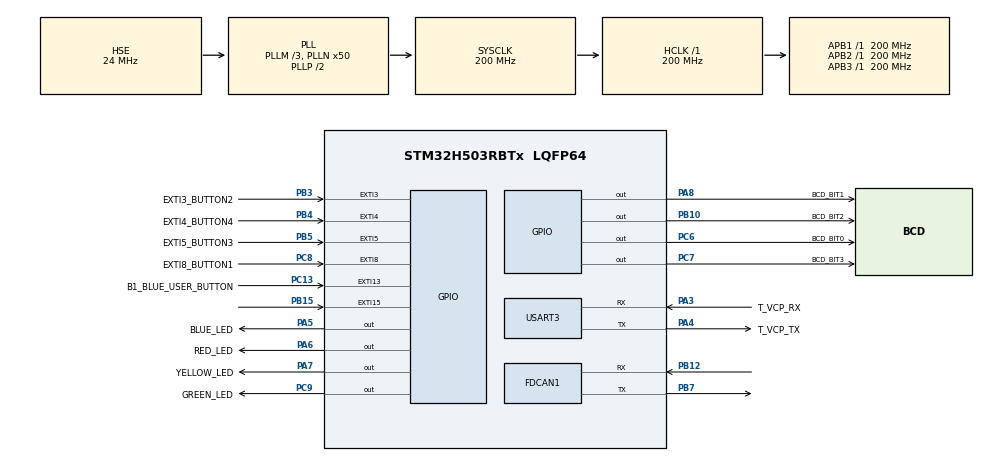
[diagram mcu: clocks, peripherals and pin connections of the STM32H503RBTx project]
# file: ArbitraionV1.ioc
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BOOTPATH.BootPathName=LEGACY
BOOTPATH.UserSelectedBootPath=LEGACY
FDCAN1.CalculateBaudRateNominal=100000
FDCAN1.CalculateTimeBitNominal=10000
FDCAN1.CalculateTimeQuantumNominal=625.0
FDCAN1.Mode=FDCAN_MODE_NORMAL
FDCAN1.NominalPrescaler=125
FDCAN1.NominalTimeSeg1=13
FDCAN1.NominalTimeSeg2=2
Mcu.Family=STM32H5
Mcu.Name=STM32H503RBTx
Mcu.Package=LQFP64
NVIC.EXTI13_IRQn=true\:0\:0\:false\:false\:true\:true\:true\:true
NVIC.EXTI15_IRQn=true\:0\:0\:false\:false\:true\:true\:true\:true
NVIC.EXTI3_IRQn=true\:0\:0\:false\:false\:true\:true\:true\:true
NVIC.EXTI4_IRQn=true\:0\:0\:false\:false\:true\:true\:true\:true
NVIC.EXTI5_IRQn=true\:0\:0\:false\:false\:true\:true\:true\:true
NVIC.EXTI8_IRQn=true\:0\:0\:false\:false\:true\:true\:true\:true
NVIC.FDCAN1_IT0_IRQn=true\:0\:0\:false\:false\:true\:true\:true\:true
NVIC.PriorityGroup=NVIC_PRIORITYGROUP_4
NVIC.USART3_IRQn=true\:0\:0\:false\:false\:true\:true\:true\:true
PA3.GPIO_Label=T_VCP_RX
PA3.Mode=Asynchronous
PA3.Signal=USART3_RX
PA4.GPIO_Label=T_VCP_TX
PA4.Mode=Asynchronous
PA4.Signal=USART3_TX
PA5.GPIO_Label=BLUE_LED
PA5.Signal=GPIO_Output
PA6.GPIO_Label=RED_LED
PA6.Signal=GPIO_Output
PA7.GPIO_Label=YELLOW_LED
PA7.Signal=GPIO_Output
PA8.GPIO_Label=BCD_BIT1
PA8.Signal=GPIO_Output
PB10.GPIO_Label=BCD_BIT2
PB10.Signal=GPIO_Output
PB12.Mode=FDCAN_Activate
PB12.Signal=FDCAN1_RX
PB15.GPIO_ModeDefaultEXTI=GPIO_MODE_IT_FALLING
PB15.GPIO_PuPd=GPIO_PULLUP
PB15.Signal=GPXTI15
PB3(JTDO/TRACESWO).GPIO_Label=EXTI3_BUTTON2
PB3(JTDO/TRACESWO).GPIO_ModeDefaultEXTI=GPIO_MODE_IT_FALLING
PB3(JTDO/TRACESWO).GPIO_PuPd=GPIO_PULLUP
PB3(JTDO/TRACESWO).Signal=GPXTI3
PB4(NJTRST).GPIO_Label=EXTI4_BUTTON4
PB4(NJTRST).GPIO_ModeDefaultEXTI=GPIO_MODE_IT_FALLING
PB4(NJTRST).GPIO_PuPd=GPIO_PULLUP
PB4(NJTRST).Signal=GPXTI4
PB5.GPIO_Label=EXTI5_BUTTON3
PB5.GPIO_ModeDefaultEXTI=GPIO_MODE_IT_FALLING
PB5.GPIO_PuPd=GPIO_NOPULL
PB5.Signal=GPXTI5
PB7.Mode=FDCAN_Activate
PB7.Signal=FDCAN1_TX
PC13.GPIO_Label=B1_BLUE_USER_BUTTON
PC13.GPIO_ModeDefaultEXTI=GPIO_MODE_IT_FALLING
PC13.Signal=GPXTI13
PC6.GPIO_Label=BCD_BIT0
PC6.Signal=GPIO_Output
PC7.GPIO_Label=BCD_BIT3
PC7.Signal=GPIO_Output
PC8.GPIO_Label=EXTI8_BUTTON1
PC8.GPIO_ModeDefaultEXTI=GPIO_MODE_IT_FALLING
PC8.Signal=GPXTI8
PC9.GPIO_Label=GREEN_LED
PC9.Signal=GPIO_Output
PH0-OSC_IN(PH0).Mode=HSE-External-Oscillator
PH0-OSC_IN(PH0).Signal=RCC_OSC_IN
PH1-OSC_OUT(PH1).Mode=HSE-External-Oscillator
PH1-OSC_OUT(PH1).Signal=RCC_OSC_OUT
ProjectManager.HeapSize=0x200
ProjectManager.StackSize=0x400
ProjectManager.TargetToolchain=STM32CubeIDE
RCC.ADCFreq_Value=200000000
RCC.AHBFreq_Value=200000000
RCC.APB1Freq_Value=200000000
RCC.APB1TimFreq_Value=200000000
RCC.APB2Freq_Value=200000000
RCC.APB2TimFreq_Value=200000000
RCC.APB3Freq_Value=200000000
RCC.CSI_VALUE=4000000
RCC.CortexFreq_Value=200000000
RCC.EPOD_VALUE=24000000
RCC.FDCANClockSelection=RCC_FDCANCLKSOURCE_PLL1Q
RCC.HCLKFreq_Value=200000000
RCC.HSE_VALUE=24000000
RCC.HSI48_VALUE=48000000
RCC.HSIDiv=RCC_HSI_DIV1
RCC.HSI_VALUE=64000000
RCC.LSE_VALUE=32768
RCC.LSIRC_VALUE=32000
RCC.PLLFRACN=0
RCC.PLLM=3
RCC.PLLN=50
RCC.PLLSourceVirtual=RCC_PLL1_SOURCE_HSE
RCC.SYSCLKFreq_VALUE=200000000
RCC.SYSCLKSource=RCC_SYSCLKSOURCE_PLLCLK
RCC.USBFreq_Value=48000000
RCC.VCOOutputFreq_Value=400000000
USART3.VirtualMode-Asynchronous=VM_ASYNC
VP_BOOTPATH_VS_BOOTPATH.Mode=BP_Activate
VP_CORTEX_M33_NS_VS_Hclk.Mode=Hclk_Mode
VP_MEMORYMAP_VS_MEMORYMAP.Mode=CurAppReg
VP_PWR_VS_DBSignals.Mode=DisableDeadBatterySignals
VP_PWR_VS_LPOM.Mode=PowerOptimisation
VP_PWR_VS_SECSignals.Mode=Security/Privilege
board=NUCLEO-H503RB

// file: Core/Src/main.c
/* USER CODE BEGIN Header */
/**
  ******************************************************************************
  * @file           : main.c
  * @brief          : Main program body
  ******************************************************************************
  * @attention
  *
  * Copyright (c) 2025 STMicroelectronics.
  * All rights reserved.
  *
  * This software is licensed under terms that can be found in the LICENSE file
  * in the root directory of this software component.
  * If no LICENSE file comes with this software, it is provided AS-IS.
  *
  ******************************************************************************
  */
/* USER CODE END Header */
#include "main.h"

/* USER CODE BEGIN PTD */
typedef struct{
	FDCAN_TxHeaderTypeDef   TxHeader;
	FDCAN_RxHeaderTypeDef   RxHeader;
	uint32_t msgID;
	uint8_t dataTx[8];
	uint8_t dataRx[8];
} CAN_SET;

CAN_SET CAN_Payload;
/* USER CODE END PTD */

/* USER CODE BEGIN PD */
#define NODE_B
/* USER CODE END PD */

FDCAN_HandleTypeDef hfdcan1;

UART_HandleTypeDef huart3;

void SystemClock_Config(void);
static void MX_GPIO_Init(void);
static void MX_FDCAN1_Init(void);
static void MX_USART3_UART_Init(void);
/* USER CODE BEGIN PFP */
void BCD_Display(uint8_t bcd_value);
void TX_Send_CAN();
void Pri_ID();
void Std_Ext();
void Pass_Arb();
void Close_led();
void Turn_LED(uint16_t LED);
void Change_ID();
void Check_flag();
void Data_Remote();
/* USER CODE END PFP */

/* USER CODE BEGIN 0 */
typedef enum {
    ID_VS_ID = 1U,
    STD_VS_EXD,
    ID_Pass_ARB,
	DATE_REMOTE,
    CHANGE_ADD,
    START_SEND_CAN
} State;

volatile State mode 	= ID_VS_ID;
State prev_mode 		= ID_VS_ID;

volatile uint8_t flag 	= 1U;
uint8_t ID_Position 	= 0U;
volatile uint8_t sw_mode = 0U;

#ifdef NODE_A
	const uint16_t pri_id_address[3]  = {0x7E0U,0x7A0U,0x119U};
	const uint16_t std_ext_address[3] = {0x7E0U,0x2A5U,0x001U};
#endif

#ifdef NODE_B
	const uint16_t pri_id_address[3]  = {0x7E1U,0x1A2U,0x149U};
	const uint32_t std_ext_address[3] = {0x1F800000U,0x10A5462U,0x00040000U};
#endif

#define MAX_ID_POSITION	(sizeof(pri_id_address) / sizeof(pri_id_address[0]))
#define RESET_ID_POSITION (0U)

/* USER CODE END 0 */

int main(void)
{

  /* MCU Configuration--------------------------------------------------------*/

  /* Reset of all peripherals, Initializes the Flash interface and the Systick. */
  HAL_Init();

  /* Configure the system clock */
  SystemClock_Config();

  /* Initialize all configured peripherals */
  MX_GPIO_Init();
  MX_FDCAN1_Init();
  MX_USART3_UART_Init();
  /* USER CODE BEGIN 2 */
  BCD_Display(ID_Position+1);
  Close_led();

  for (uint8_t i = 0; i < 8 ;i++){
	  CAN_Payload.dataTx[i] = i;
  }
  /* USER CODE END 2 */

  /* Infinite loop */
  while (1)
  {

    /* USER CODE BEGIN 3 */
	while(flag == 1){
		switch (mode)
    		{
    		case ID_VS_ID:
    			Turn_LED(BLUE_LED_Pin);
    			Pri_ID();
    			break;
    		case STD_VS_EXD:
    			Turn_LED(RED_LED_Pin);
    			Std_Ext();
    			break;
    		case ID_Pass_ARB:
    			Turn_LED(YELLOW_LED_Pin);
    			Pass_Arb();
    			break;
    		case DATE_REMOTE:
    			Turn_LED(GREEN_LED_Pin);
    			Data_Remote();
    			break;
    		case CHANGE_ADD:
    			Change_ID();
    			break;
    		default:
    			break;
    		}
		Check_flag();
	}
  }
  /* USER CODE END 3 */
}

void SystemClock_Config(void)
{
  RCC_OscInitTypeDef RCC_OscInitStruct = {0};
  RCC_ClkInitTypeDef RCC_ClkInitStruct = {0};

  /** Configure the main internal regulator output voltage
  */
  __HAL_PWR_VOLTAGESCALING_CONFIG(PWR_REGULATOR_VOLTAGE_SCALE1);

  while(!__HAL_PWR_GET_FLAG(PWR_FLAG_VOSRDY)) {}

  /** Initializes the RCC Oscillators according to the specified parameters
  * in the RCC_OscInitTypeDef structure.
  */
  RCC_OscInitStruct.OscillatorType = RCC_OSCILLATORTYPE_HSE;
  RCC_OscInitStruct.HSEState = RCC_HSE_ON;
  RCC_OscInitStruct.PLL.PLLState = RCC_PLL_ON;
  RCC_OscInitStruct.PLL.PLLSource = RCC_PLL1_SOURCE_HSE;
  RCC_OscInitStruct.PLL.PLLM = 3;
  RCC_OscInitStruct.PLL.PLLN = 50;
  RCC_OscInitStruct.PLL.PLLP = 2;
  RCC_OscInitStruct.PLL.PLLQ = 2;
  RCC_OscInitStruct.PLL.PLLR = 2;
  RCC_OscInitStruct.PLL.PLLRGE = RCC_PLL1_VCIRANGE_3;
  RCC_OscInitStruct.PLL.PLLVCOSEL = RCC_PLL1_VCORANGE_WIDE;
  RCC_OscInitStruct.PLL.PLLFRACN = 0;
  if (HAL_RCC_OscConfig(&RCC_OscInitStruct) != HAL_OK)
  {
    Error_Handler();
  }

  /** Initializes the CPU, AHB and APB buses clocks
  */
  RCC_ClkInitStruct.ClockType = RCC_CLOCKTYPE_HCLK|RCC_CLOCKTYPE_SYSCLK
                              |RCC_CLOCKTYPE_PCLK1|RCC_CLOCKTYPE_PCLK2
                              |RCC_CLOCKTYPE_PCLK3;
  RCC_ClkInitStruct.SYSCLKSource = RCC_SYSCLKSOURCE_PLLCLK;
  RCC_ClkInitStruct.AHBCLKDivider = RCC_SYSCLK_DIV1;
  RCC_ClkInitStruct.APB1CLKDivider = RCC_HCLK_DIV1;
  RCC_ClkInitStruct.APB2CLKDivider = RCC_HCLK_DIV1;
  RCC_ClkInitStruct.APB3CLKDivider = RCC_HCLK_DIV1;

  if (HAL_RCC_ClockConfig(&RCC_ClkInitStruct, FLASH_LATENCY_5) != HAL_OK)
  {
    Error_Handler();
  }

  /** Configure the programming delay
  */
  __HAL_FLASH_SET_PROGRAM_DELAY(FLASH_PROGRAMMING_DELAY_2);
}

static void MX_FDCAN1_Init(void)
{

  hfdcan1.Instance = FDCAN1;
  hfdcan1.Init.ClockDivider = FDCAN_CLOCK_DIV1;
  hfdcan1.Init.FrameFormat = FDCAN_FRAME_CLASSIC;
  hfdcan1.Init.Mode = FDCAN_MODE_NORMAL;
  hfdcan1.Init.AutoRetransmission = DISABLE;
  hfdcan1.Init.TransmitPause = DISABLE;
  hfdcan1.Init.ProtocolException = DISABLE;
  hfdcan1.Init.NominalPrescaler = 25;
  hfdcan1.Init.NominalSyncJumpWidth = 1;
  hfdcan1.Init.NominalTimeSeg1 = 13;
  hfdcan1.Init.NominalTimeSeg2 = 2;
  hfdcan1.Init.DataPrescaler = 1;
  hfdcan1.Init.DataSyncJumpWidth = 1;
  hfdcan1.Init.DataTimeSeg1 = 1;
  hfdcan1.Init.DataTimeSeg2 = 1;
  hfdcan1.Init.StdFiltersNbr = 0;
  hfdcan1.Init.ExtFiltersNbr = 0;
  hfdcan1.Init.TxFifoQueueMode = FDCAN_TX_FIFO_OPERATION;
  if (HAL_FDCAN_Init(&hfdcan1) != HAL_OK)
  {
    Error_Handler();
  }
  /* USER CODE BEGIN FDCAN1_Init 2 */
  if (HAL_FDCAN_Start(&hfdcan1) != HAL_OK) {
    	 /* Notification Error */
    	Error_Handler();
   }
   if (HAL_FDCAN_ActivateNotification(&hfdcan1, FDCAN_IT_RX_FIFO0_NEW_MESSAGE, 0) != HAL_OK)
   {
 	  /* Notification Error */
  	Error_Handler();
   }

  /* USER CODE END FDCAN1_Init 2 */

}

static void MX_USART3_UART_Init(void)
{

  huart3.Instance = USART3;
  huart3.Init.BaudRate = 115200;
  huart3.Init.WordLength = UART_WORDLENGTH_8B;
  huart3.Init.StopBits = UART_STOPBITS_1;
  huart3.Init.Parity = UART_PARITY_NONE;
  huart3.Init.Mode = UART_MODE_TX_RX;
  huart3.Init.HwFlowCtl = UART_HWCONTROL_NONE;
  huart3.Init.OverSampling = UART_OVERSAMPLING_16;
  huart3.Init.OneBitSampling = UART_ONE_BIT_SAMPLE_DISABLE;
  huart3.Init.ClockPrescaler = UART_PRESCALER_DIV1;
  huart3.AdvancedInit.AdvFeatureInit = UART_ADVFEATURE_NO_INIT;
  if (HAL_UART_Init(&huart3) != HAL_OK)
  {
    Error_Handler();
  }
  if (HAL_UARTEx_SetTxFifoThreshold(&huart3, UART_TXFIFO_THRESHOLD_1_8) != HAL_OK)
  {
    Error_Handler();
  }
  if (HAL_UARTEx_SetRxFifoThreshold(&huart3, UART_RXFIFO_THRESHOLD_1_8) != HAL_OK)
  {
    Error_Handler();
  }
  if (HAL_UARTEx_DisableFifoMode(&huart3) != HAL_OK)
  {
    Error_Handler();
  }

}

static void MX_GPIO_Init(void)
{
  GPIO_InitTypeDef GPIO_InitStruct = {0};

  /* GPIO Ports Clock Enable */
  __HAL_RCC_GPIOC_CLK_ENABLE();
  __HAL_RCC_GPIOH_CLK_ENABLE();
  __HAL_RCC_GPIOA_CLK_ENABLE();
  __HAL_RCC_GPIOB_CLK_ENABLE();

  /*Configure GPIO pin Output Level */
  HAL_GPIO_WritePin(GPIOA, BLUE_LED_Pin|RED_LED_Pin|YELLOW_LED_Pin|BCD_BIT1_Pin, GPIO_PIN_RESET);

  /*Configure GPIO pin Output Level */
  HAL_GPIO_WritePin(BCD_BIT2_GPIO_Port, BCD_BIT2_Pin, GPIO_PIN_RESET);

  /*Configure GPIO pin Output Level */
  HAL_GPIO_WritePin(GPIOC, BCD_BIT0_Pin|BCD_BIT3_Pin|GREEN_LED_Pin, GPIO_PIN_RESET);

  /*Configure GPIO pins : B1_BLUE_USER_BUTTON_Pin EXTI8_BUTTON1_Pin */
  GPIO_InitStruct.Pin = B1_BLUE_USER_BUTTON_Pin|EXTI8_BUTTON1_Pin;
  GPIO_InitStruct.Mode = GPIO_MODE_IT_FALLING;
  GPIO_InitStruct.Pull = GPIO_NOPULL;
  HAL_GPIO_Init(GPIOC, &GPIO_InitStruct);

  /*Configure GPIO pins : BLUE_LED_Pin RED_LED_Pin YELLOW_LED_Pin BCD_BIT1_Pin */
  GPIO_InitStruct.Pin = BLUE_LED_Pin|RED_LED_Pin|YELLOW_LED_Pin|BCD_BIT1_Pin;
  GPIO_InitStruct.Mode = GPIO_MODE_OUTPUT_PP;
  GPIO_InitStruct.Pull = GPIO_NOPULL;
  GPIO_InitStruct.Speed = GPIO_SPEED_FREQ_LOW;
  HAL_GPIO_Init(GPIOA, &GPIO_InitStruct);

  /*Configure GPIO pin : BCD_BIT2_Pin */
  GPIO_InitStruct.Pin = BCD_BIT2_Pin;
  GPIO_InitStruct.Mode = GPIO_MODE_OUTPUT_PP;
  GPIO_InitStruct.Pull = GPIO_NOPULL;
  GPIO_InitStruct.Speed = GPIO_SPEED_FREQ_LOW;
  HAL_GPIO_Init(BCD_BIT2_GPIO_Port, &GPIO_InitStruct);

  /*Configure GPIO pins : PB15 EXTI3_BUTTON2_Pin EXTI4_BUTTON4_Pin */
  GPIO_InitStruct.Pin = GPIO_PIN_15|EXTI3_BUTTON2_Pin|EXTI4_BUTTON4_Pin;
  GPIO_InitStruct.Mode = GPIO_MODE_IT_FALLING;
  GPIO_InitStruct.Pull = GPIO_PULLUP;
  HAL_GPIO_Init(GPIOB, &GPIO_InitStruct);

  /*Configure GPIO pins : BCD_BIT0_Pin BCD_BIT3_Pin GREEN_LED_Pin */
  GPIO_InitStruct.Pin = BCD_BIT0_Pin|BCD_BIT3_Pin|GREEN_LED_Pin;
  GPIO_InitStruct.Mode = GPIO_MODE_OUTPUT_PP;
  GPIO_InitStruct.Pull = GPIO_NOPULL;
  GPIO_InitStruct.Speed = GPIO_SPEED_FREQ_LOW;
  HAL_GPIO_Init(GPIOC, &GPIO_InitStruct);

  /*Configure GPIO pin : EXTI5_BUTTON3_Pin */
  GPIO_InitStruct.Pin = EXTI5_BUTTON3_Pin;
  GPIO_InitStruct.Mode = GPIO_MODE_IT_FALLING;
  GPIO_InitStruct.Pull = GPIO_NOPULL;
  HAL_GPIO_Init(EXTI5_BUTTON3_GPIO_Port, &GPIO_InitStruct);

  /* EXTI interrupt init*/
  HAL_NVIC_SetPriority(EXTI3_IRQn, 0, 0);
  HAL_NVIC_EnableIRQ(EXTI3_IRQn);

  HAL_NVIC_SetPriority(EXTI4_IRQn, 0, 0);
  HAL_NVIC_EnableIRQ(EXTI4_IRQn);

  HAL_NVIC_SetPriority(EXTI5_IRQn, 0, 0);
  HAL_NVIC_EnableIRQ(EXTI5_IRQn);

  HAL_NVIC_SetPriority(EXTI8_IRQn, 0, 0);
  HAL_NVIC_EnableIRQ(EXTI8_IRQn);

  HAL_NVIC_SetPriority(EXTI13_IRQn, 0, 0);
  HAL_NVIC_EnableIRQ(EXTI13_IRQn);

  HAL_NVIC_SetPriority(EXTI15_IRQn, 0, 0);
  HAL_NVIC_EnableIRQ(EXTI15_IRQn);

}

/* USER CODE BEGIN 4 */
void HAL_GPIO_EXTI_Falling_Callback(uint16_t GPIO_Pin){

		if (GPIO_Pin == EXTI8_BUTTON1_Pin) {
			mode = ID_VS_ID;
		}
		if (GPIO_Pin == EXTI3_BUTTON2_Pin) {
			mode = STD_VS_EXD;
		}
		if (GPIO_Pin == EXTI4_BUTTON4_Pin) {
			mode = CHANGE_ADD;
		}
		if (GPIO_Pin == B1_BLUE_USER_BUTTON_Pin) {
//			if(sw_mode == 0){
//				mode = ID_Pass_ARB;
//			}else{
//				mode = DATE_REMOTE;
//			}
//			sw_mode ^= 1;
			mode = DATE_REMOTE;
		}
		if (GPIO_Pin == GPIO_PIN_15) {
			TX_Send_CAN();
		}

		if (GPIO_Pin == EXTI5_BUTTON3_Pin){
			mode = ID_Pass_ARB;
		}
		flag = 1;
}
//void EXTI3_IRQHandler(void)
//{
//    if (EXTI->FPR1 & (1U << 3U))  // Check pending
//    {
//        EXTI->FPR1 = (1U << 3U);  // Clear interrupt flag
//        mode = STD_VS_EXD;
//        flag = 1;
//    }
//}
//
//void EXTI4_IRQHandler(void)
//{
//    if (EXTI->FPR1 & (1U << 4U))
//    {
//        EXTI->FPR1 = (1U << 4U);
//        mode = CHANGE_ADD;
//        flag = 1;
//    }
//}
//
//void EXTI5_IRQHandler(void)
//{
//    if (EXTI->FPR1 & (1U << 5U))
//    {
//        EXTI->FPR1 = (1U << 5U);
//        mode = CHANGE_ADD;
//        flag = 1;
//    }
//}
//
//void EXTI8_IRQHandler(void)
//{
//    if (EXTI->FPR1 & (1U << 8U))
//    {
//        EXTI->FPR1 = (1U << 8U);
//        mode = ID_VS_ID;
//        flag = 1;
//    }
//}
//
//void EXTI13_IRQHandler(void)
//{
//    if (EXTI->FPR1 & (1U << 13U))
//    {
//        EXTI->FPR1 = (1U << 13U);
//        mode = ID_Pass_ARB;
//        flag = 1;
//    }
//}

void BCD_Display(uint8_t bcd_value)
{
    bcd_value &= 0x0F;/*set bit*/

    HAL_GPIO_WritePin(BCD_BIT0_GPIO_Port, BCD_BIT0_Pin, (bcd_value & (1 << 0)) ? GPIO_PIN_SET : GPIO_PIN_RESET);
    HAL_GPIO_WritePin(BCD_BIT1_GPIO_Port, BCD_BIT1_Pin, (bcd_value & (1 << 1)) ? GPIO_PIN_SET : GPIO_PIN_RESET);
    HAL_GPIO_WritePin(BCD_BIT2_GPIO_Port, BCD_BIT2_Pin, (bcd_value & (1 << 2)) ? GPIO_PIN_SET : GPIO_PIN_RESET);
    HAL_GPIO_WritePin(BCD_BIT3_GPIO_Port, BCD_BIT3_Pin, (bcd_value & (1 << 3)) ? GPIO_PIN_SET : GPIO_PIN_RESET);
}

void Pri_ID(){
	 CAN_Payload.msgID = pri_id_address[ID_Position];
	 CAN_Payload.TxHeader.IdType = FDCAN_STANDARD_ID;
	 CAN_Payload.TxHeader.DataLength = FDCAN_DLC_BYTES_8;
	 CAN_Payload.TxHeader.TxFrameType = FDCAN_DATA_FRAME;
	 prev_mode = mode;
}

void Pass_Arb(){
	CAN_Payload.msgID = 0x7E2;
	CAN_Payload.TxHeader.IdType = FDCAN_STANDARD_ID;
	CAN_Payload.TxHeader.DataLength = FDCAN_DLC_BYTES_8;

#ifdef NODE_A
	CAN_Payload.TxHeader.DataLength = FDCAN_DLC_BYTES_1;
#endif

#ifdef NODE_B
	CAN_Payload.TxHeader.DataLength = FDCAN_DLC_BYTES_2;
#endif
	CAN_Payload.TxHeader.TxFrameType = FDCAN_DATA_FRAME;
	prev_mode = mode;
	ID_Position = 0;
	BCD_Display(1);

}

void Std_Ext(){

#ifdef NODE_A
	CAN_Payload.TxHeader.IdType = FDCAN_STANDARD_ID;
#endif

#ifdef NODE_B
	CAN_Payload.TxHeader.IdType = FDCAN_EXTENDED_ID;
#endif
	CAN_Payload.msgID = std_ext_address[ID_Position];

	CAN_Payload.TxHeader.DataLength = FDCAN_DLC_BYTES_8;
	CAN_Payload.TxHeader.TxFrameType = FDCAN_DATA_FRAME;

	prev_mode = mode;
}

void Data_Remote(){
	CAN_Payload.msgID = 0x7EA;
	CAN_Payload.TxHeader.DataLength = FDCAN_DLC_BYTES_8;

#ifdef NODE_A
	CAN_Payload.TxHeader.TxFrameType = FDCAN_DATA_FRAME;
#endif

#ifdef NODE_B
	CAN_Payload.TxHeader.TxFrameType = FDCAN_REMOTE_FRAME;
#endif
	ID_Position = 0;
	BCD_Display(1);
}

void TX_Send_CAN(){
  /* ----- Prepare CAN data --------------------------------------- */
  CAN_Payload.TxHeader.Identifier = CAN_Payload.msgID; //CAN_Payload.msgID
  CAN_Payload.TxHeader.ErrorStateIndicator = FDCAN_ESI_ACTIVE;
  CAN_Payload.TxHeader.BitRateSwitch = FDCAN_BRS_OFF;         // Disable BRS
  CAN_Payload.TxHeader.FDFormat = FDCAN_CLASSIC_CAN;          // Use Classical CAN frame
  CAN_Payload.TxHeader.TxEventFifoControl = FDCAN_NO_TX_EVENTS;
  CAN_Payload.TxHeader.MessageMarker = 0;
  CAN_Payload.dataTx[0] ^= 1;
  if (HAL_FDCAN_AddMessageToTxFifoQ(&hfdcan1, &CAN_Payload.TxHeader,CAN_Payload.dataTx)!= HAL_OK)
  {

  }

}

void Close_led(){
	HAL_GPIO_WritePin(GPIOA, BLUE_LED_Pin|RED_LED_Pin|YELLOW_LED_Pin,RESET);
	HAL_GPIO_WritePin(GPIOC, GREEN_LED_Pin, RESET);
}

void Turn_LED(uint16_t LED){
	Close_led();
	if(LED == GREEN_LED_Pin){
		HAL_GPIO_WritePin(GPIOC,LED,SET);
	}else{
		HAL_GPIO_WritePin(GPIOA,LED,SET);
	}

}

void Change_ID(){
	if(prev_mode == ID_Pass_ARB ){
	    ID_Position = RESET_ID_POSITION;
	}else{
	    ID_Position++;
	    if (ID_Position >= MAX_ID_POSITION) {
	    	ID_Position = RESET_ID_POSITION;
	    }
	}
	BCD_Display(ID_Position+1);
}

void Check_flag(){
	if(mode == CHANGE_ADD){
		flag = 1;
		mode = prev_mode;
	}else {
		flag = 0;
	}
}

void HAL_FDCAN_RxFifo0Callback(FDCAN_HandleTypeDef *hfdcan, uint32_t RxFifo0ITs)
{
	if((RxFifo0ITs & FDCAN_IT_RX_FIFO0_NEW_MESSAGE) != RESET)
	{
		/* Retreive Rx messages from RX FIFO0 */
		if (HAL_FDCAN_GetRxMessage(hfdcan, FDCAN_RX_FIFO0, &CAN_Payload.RxHeader,CAN_Payload.dataRx) != HAL_OK)
		{
			/* Reception Error */
			Error_Handler();
		}
		if (HAL_FDCAN_ActivateNotification(hfdcan, FDCAN_IT_RX_FIFO0_NEW_MESSAGE, 0) != HAL_OK)
		{
			/* Notification Error */
			Error_Handler();
		}
	}
}

/* USER CODE END 4 */

void Error_Handler(void)
{
  __disable_irq();
  while (1)
  {
  }
}
